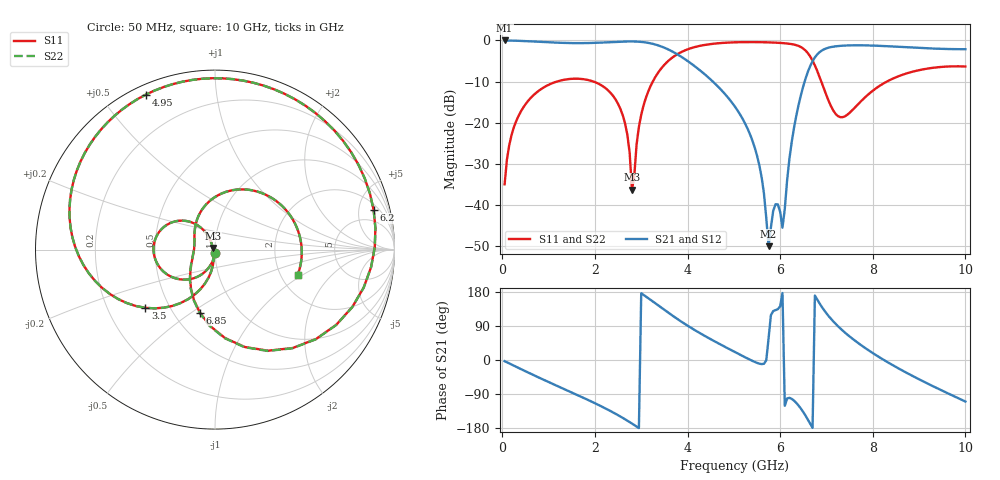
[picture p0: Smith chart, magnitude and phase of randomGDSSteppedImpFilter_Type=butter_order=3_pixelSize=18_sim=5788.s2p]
! freq	dB(S11)	phase(S11)	dB(S12)	phase(S12)
!  dB(S21)	phase(S21)	dB(S22)	phase(S22)
!S-par simulation data
#  GHz  S  DB  R 50
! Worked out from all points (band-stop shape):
!   200 points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, 50 MHz to 10 GHz, reference 50 ohm
!   highest |S21| = -0.01 dB at 50 MHz (marker M1); lowest = -50.1 dB at 5.75 GHz (marker M2)
!   |S21| within 3 dB of the highest: start of sweep to 3.722 GHz; 6.837 GHz to end of sweep
!   lowest |S11| = -36.3 dB at 2.8 GHz (marker M3), VSWR 1.03, Z = 48.8 + j0.939 ohm
!   |S11| at or under -10 dB: start of sweep to 1.181 GHz; 1.965 GHz to 3.25 GHz (1.285 GHz wide, 49.3 % of centre); 6.888 GHz to 8.306 GHz (1.418 GHz wide, 18.7 % of centre)
!   |S22| runs from -36.3 to -0.4 dB; largest |S21 - S12| = 0
!   S11 on the Smith chart (normalised r, x): 50 MHz: 1.00, -0.04; 3.5 GHz: 0.37, -0.32; 4.95 GHz: 0.04, +0.65; 6.2 GHz: 2.74, +7.10; 6.85 GHz: 0.67, -0.54; 10 GHz: 2.46, -0.91
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0.05  -35.01 -92.8  -0.01 -3.0  -0.01 -3.0  -35.01 -92.8
0.5  -15.55 -120.2  -0.16 -29.7  -0.16 -29.7  -15.55 -120.2
1.75  -9.43 170.1  -0.65 -99.6  -0.65 -99.6  -9.43 170.1
2.55  -16.65 123.0  -0.30 -149.1  -0.30 -149.1  -16.65 123.0
2.8  -36.32 141.0  -0.25 -167.7  -0.25 -167.7  -36.32 140.9
3  -18.09 -99.9  -0.36 176.1  -0.36 176.1  -18.09 -99.9
3.4  -7.29 -131.4  -1.33 141.2  -1.33 141.2  -7.29 -131.4
3.5  -5.93 -140.1  -1.77 132.3  -1.77 132.3  -5.93 -140.1
4.2  -1.49 164.2  -6.67 75.7  -6.67 75.7  -1.49 164.2
4.95  -0.49 114.1  -14.98 25.7  -14.98 25.7  -0.49 114.1
5.05  -0.45 107.6  -16.54 19.3  -16.54 19.3  -0.45 107.6
5.55  -0.42 73.3  -30.36 -9.7  -30.36 -9.7  -0.42 73.2
5.75  -0.47 57.9  -50.07 57.1  -50.07 57.1  -0.47 57.8
5.9  -0.54 45.1  -39.87 131.7  -39.87 131.7  -0.54 45.0
6.05  -0.64 30.7  -45.56 176.7  -45.56 176.7  -0.64 30.6
6.2  -0.81 14.0  -28.80 -99.8  -28.80 -99.8  -0.81 13.9
6.7  -4.92 -73.0  -5.05 -179.2  -5.05 -179.2  -4.93 -73.3
6.85  -8.85 -103.5  -2.87 149.5  -2.87 149.5  -8.86 -104.0
7.35  -18.67 171.0  -1.28 77.6  -1.28 77.6  -18.66 170.6
8.35  -9.74 79.7  -1.43 -7.9  -1.43 -7.9  -9.74 79.8
9.15  -6.91 29.9  -1.90 -60.1  -1.90 -60.1  -6.91 30.1
10  -6.35 -17.2  -2.13 -109.6  -2.13 -109.6  -6.35 -17.1
